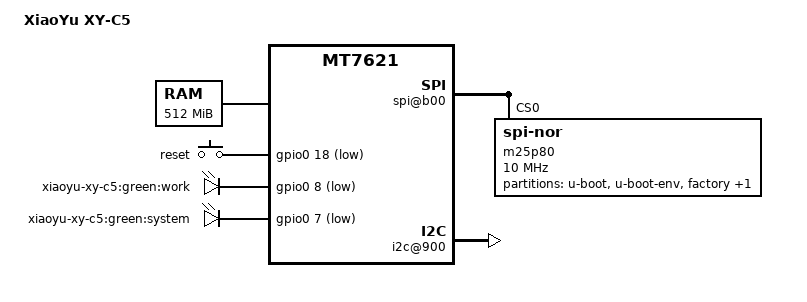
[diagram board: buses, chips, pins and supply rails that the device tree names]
/dts-v1/;

/include/ "mt7621.dtsi"

/ {
	compatible = "xiaoyu-xy-c5", "mediatek,mt7621-soc";
	model = "XiaoYu XY-C5";

	memory@0 {
		device_type = "memory";
		reg = <0x0 0x1c000000>, <0x20000000 0x4000000>;
	};

	chosen {
		bootargs = "console=ttyS0,57600";
	};

	palmbus@1E000000 {
		spi@b00 {
			status = "okay";

			m25p80@0 {
				#address-cells = <1>;
				#size-cells = <1>;
				compatible = "jedec,spi-nor";
				reg = <0 0>;
				spi-max-frequency = <10000000>;

				partition@0 {
					label = "u-boot";
					reg = <0x0 0x30000>;
				};

				partition@30000 {
					label = "u-boot-env";
					reg = <0x30000 0x10000>;
				};

				factory: partition@40000 {
					label = "factory";
					reg = <0x40000 0x10000>;
				};

				partition@50000 {
					label = "firmware";
					reg = <0x50000 0x1fb0000>;
				};

			};
		};

		i2c@900 {
			compatible = "ralink,i2c-mt7621";
			reg = <0x900 0x100>;
			#address-cells = <1>;
			#size-cells = <0>;
			pinctrl-names = "default";
			pinctrl-0 = <&i2c_pins>;
			status = "okay";
		};
	};

	ethernet@1e100000 {
		mtd-mac-address = <&factory 0x4>;
	};

	gpio-keys-polled {
		compatible = "gpio-keys-polled";
		#address-cells = <1>;
		#size-cells = <0>;
		poll-interval = <20>;

		reset {
			label = "reset";
			gpios = <&gpio0 18 1>;
			linux,code = <0x198>;
		};
	};

	gpio-leds {
		compatible = "gpio-leds";

		work {
			label = "xiaoyu-xy-c5:green:work";
			gpios = <&gpio0 8 1>;
		};

		system {
			label = "xiaoyu-xy-c5:green:system";
			gpios = <&gpio0 7 1>;
		};
	};

	pinctrl {
		state_default: pinctrl0 {
			gpio {
				ralink,group = "uart3", "wdt";
				ralink,function = "gpio";
			};
		};
	};

};
